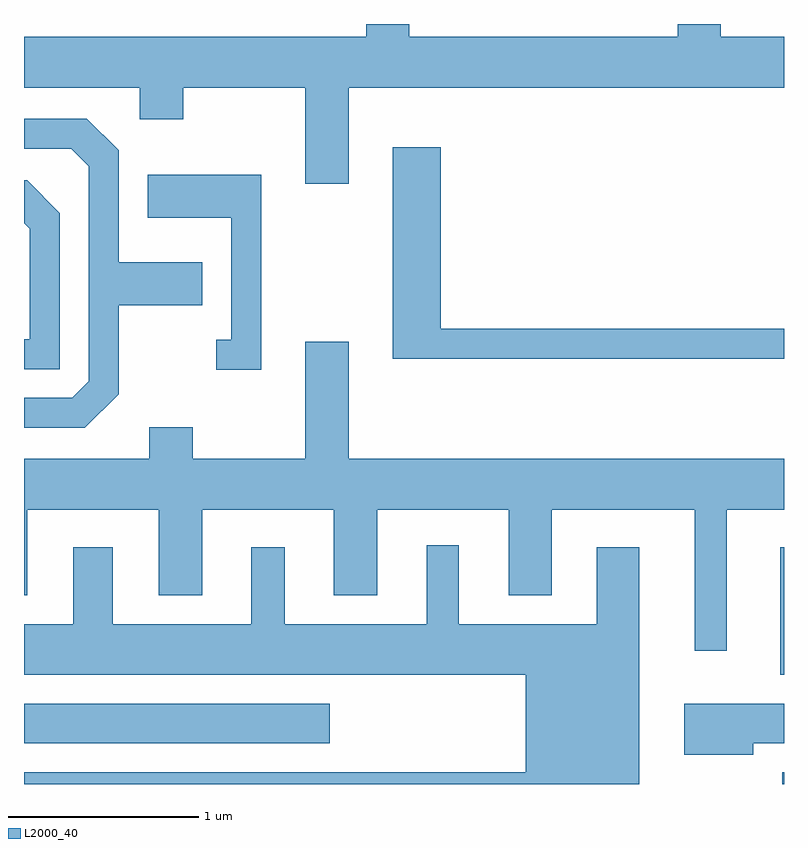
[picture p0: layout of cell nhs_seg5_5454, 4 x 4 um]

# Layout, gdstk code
import gdstk
lib = gdstk.Library(unit=1e-6, precision=1e-09)
def R(c, l, rs):  # rectangles x0, y0, x1, y1
    for r in rs: c.add(gdstk.rectangle(r[:2], r[2:], *l))
def P(c, l, *ps):  # polygons
    for p in ps: c.add(gdstk.Polygon(p, *l))
L2000_40 = (2000, 40)

nhs_seg5_5454 = lib.new_cell('nhs_seg5_5454')
R(nhs_seg5_5454, L2000_40, [(351.601,1402.072,351.611,1402.134), (347.611,1402.286,349.219,1402.494), (351.591,1402.646,351.611,1403.319)])
P(nhs_seg5_5454, L2000_40, [(349.319,1405.736),(351.611,1405.736),(351.611,1406.004),(351.279,1406.004),(351.279,1406.072),(351.051,1406.072),(351.051,1406.004),(349.639,1406.004),(349.639,1406.072),(349.411,1406.072),(349.411,1406.004),(347.611,1406.004),(347.611,1405.736),(348.221,1405.736),(348.221,1405.571),(348.449,1405.571),(348.449,1405.736),(349.091,1405.736),(349.091,1405.231),(349.319,1405.231)],
  [(348.109,1404.124),(348.109,1404.591),(348.549,1404.591),(348.549,1404.819),(348.109,1404.819),(348.109,1405.407),(347.942,1405.574),(347.611,1405.574),(347.611,1405.416),(347.859,1405.416),(347.951,1405.324),(347.951,1404.192),(347.864,1404.104),(347.611,1404.104),(347.611,1403.946),(347.932,1403.946)],
  [(351.611,1404.469),(349.804,1404.469),(349.804,1405.424),(349.551,1405.424),(349.551,1404.311),(351.611,1404.311)],
  [(348.859,1405.279),(348.261,1405.279),(348.261,1405.051),(348.701,1405.051),(348.701,1404.409),(348.623,1404.409),(348.623,1404.251),(348.859,1404.251)],
  [(347.799,1405.077),(347.627,1405.249),(347.611,1405.249),(347.611,1405.024),(347.641,1404.994),(347.641,1404.414),(347.611,1404.414),(347.611,1404.256),(347.799,1404.256)],
  [(351.309,1403.516),(351.611,1403.516),(351.611,1403.784),(349.319,1403.784),(349.319,1404.399),(349.091,1404.399),(349.091,1403.784),(348.499,1403.784),(348.499,1403.949),(348.271,1403.949),(348.271,1403.784),(347.611,1403.784),(347.611,1403.066),(347.629,1403.066),(347.629,1403.516),(348.321,1403.516),(348.321,1403.066),(348.549,1403.066),(348.549,1403.516),(349.241,1403.516),(349.241,1403.066),(349.469,1403.066),(349.469,1403.516),(350.161,1403.516),(350.161,1403.066),(350.389,1403.066),(350.389,1403.516),(351.141,1403.516),(351.141,1402.773),(351.309,1402.773)],
  [(350.849,1403.319),(350.626,1403.319),(350.626,1402.914),(349.899,1402.914),(349.899,1403.328),(349.731,1403.328),(349.731,1402.914),(348.984,1402.914),(348.984,1403.319),(348.806,1403.319),(348.806,1402.914),(348.079,1402.914),(348.079,1403.319),(347.871,1403.319),(347.871,1402.914),(347.611,1402.914),(347.611,1402.646),(350.251,1402.646),(350.251,1402.134),(347.611,1402.134),(347.611,1402.072),(350.849,1402.072)],
  [(351.449,1402.286),(351.611,1402.286),(351.611,1402.494),(351.086,1402.494),(351.086,1402.226),(351.449,1402.226)])

lib.write_gds('nhs_seg5_5454.gds')
